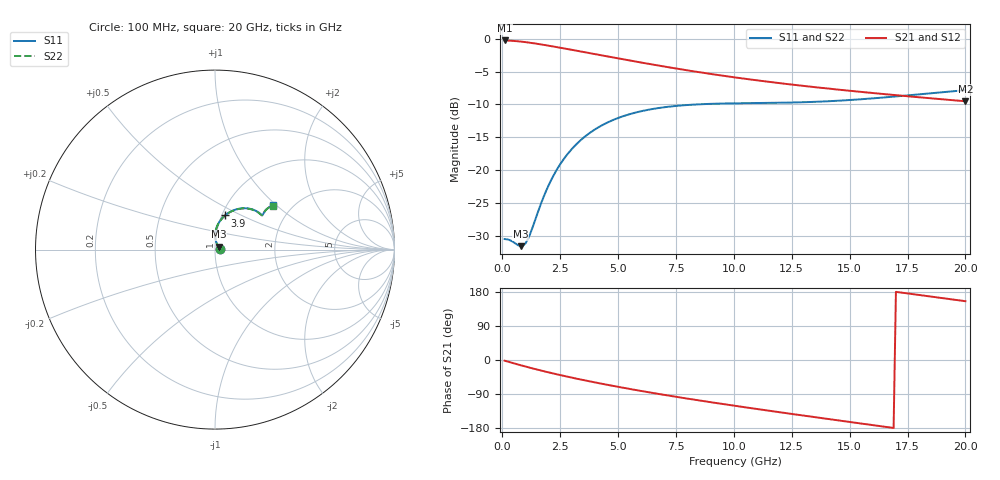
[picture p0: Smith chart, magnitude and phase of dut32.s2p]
! Touchstone file exported from HFSS 2024.1.0
!  File:  C:/UserFiles/LocalFiles/RDL_TSV_Batchsim/temp_RDL_TSV_32_1779402468.aedt
!  Generated:  06:40:58 AM May 22, 2026
!  Design:  RDL_TSV
!  Project:  temp_RDL_TSV_32_1779402468
!  Setup:  Setup1
!  Solution:  Sweep
! Variables:
!  dtsv = 11.54um
!  hbump = 3um
!  htsv = 79.24um
!  ldown = 105.53um
!  lrdl = 573.5um
!  p = 40
!  p1 = 40.76um
!  rhole = 10um
!  subl = 2610.59um
!  t = 450um
!  tdown = 4.92um
!  trdl = 2.56um
!  viad = 10um
!  wdown = 26.95um
!  wrdl = 10.7um
!  xbump = 18um
# GHz S MA R 50.000000
! Terminal data exported
! Port[1] = TM1_1_T1
! Port[2] = TM1_4_T1
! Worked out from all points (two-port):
!   200 points, 100 MHz to 20 GHz, reference 50 ohm
!   highest |S21| = -0.27 dB at 100 MHz (marker M1); lowest = -9.5 dB at 20 GHz (marker M2)
!   |S21| within 3 dB of the highest: start of sweep to 5.425 GHz
!   lowest |S11| = -31.6 dB at 800 MHz (marker M3), VSWR 1.05, Z = 52.1 + j1.62 ohm
!   |S11| at or under -10 dB: start of sweep to 8.476 GHz
!   |S22| runs from -31.6 to -7.9 dB; largest |S21 - S12| = 8.5e-15
!   S11 on the Smith chart (normalised r, x): 100 MHz: 1.06, +0.00; 3.9 GHz: 1.04, +0.41; 20 GHz: 1.61, +0.95
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0.1  0.02977 3.3  0.9698 -1.8  0.9698 -1.8  0.02977 3.3
! Gamma 0 0 0 0
! Port Impedance 50 0 50 0
0.3  0.02932 10.0  0.9668 -5.4  0.9668 -5.4  0.02932 10.0
0.8  0.02627 36.3  0.9508 -14.0  0.9508 -14.0  0.02628 36.2
1  0.02758 53.0  0.9418 -17.3  0.9418 -17.3  0.02758 52.9
1.1  0.02956 61.2  0.9369 -18.9  0.9369 -18.9  0.02954 61.1
1.8  0.06333 88.2  0.8973 -29.8  0.8973 -29.8  0.06319 88.1
2  0.07636 89.2  0.885 -32.7  0.885 -32.7  0.07617 89.1
2.3  0.09676 88.6  0.8664 -37.0  0.8664 -37.0  0.09652 88.5
2.9  0.1377 83.9  0.8292 -45.2  0.8292 -45.2  0.1373 83.8
3.5  0.1756 77.8  0.7928 -52.9  0.7928 -52.9  0.1751 77.7
3.9  0.1983 73.7  0.7694 -57.9  0.7694 -57.9  0.1977 73.6
4.5  0.228 67.8  0.7355 -65.1  0.7355 -65.1  0.2273 67.7
5.2  0.2561 61.5  0.6981 -73.1  0.6981 -73.1  0.2553 61.4
6.8  0.2974 50.1  0.6221 -90.1  0.6221 -90.1  0.2963 50.0
8.4  0.3157 42.5  0.5594 -105.7  0.5594 -105.7  0.3145 42.4
10.1  0.3221 37.9  0.5057 -121.3  0.5057 -121.3  0.3207 37.8
11.7  0.3245 36.2  0.4649 -135.4  0.4649 -135.4  0.3231 36.1
13.4  0.3299 36.2  0.4293 -150.0  0.4293 -150.0  0.3285 36.2
15  0.341 37.1  0.4012 -163.5  0.4012 -163.5  0.3396 37.1
16.7  0.3594 37.9  0.3755 -177.7  0.3755 -177.7  0.3581 37.9
18.3  0.3811 38.0  0.3541 169.1  0.3541 169.1  0.3799 38.0
20  0.4056 37.3  0.3339 155.2  0.3339 155.2  0.4044 37.3
